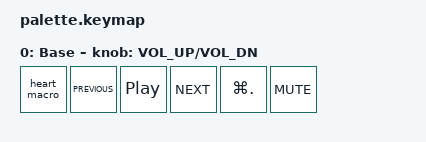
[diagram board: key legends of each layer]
#include <behaviors.dtsi>
#include <dt-bindings/zmk/keys.h>

/ {
    behaviors {
        heart_macro: behavior_macro {
            compatible = "zmk,behavior-macro";
            #binding-cells = <0>;
            bindings = <&macro_tap &kp LT &kp N3>;
        };
    };
    combos {
        compatible = "zmk,combos";
        combo_studio {
          timeout-ms = <50>;
          bindings = <&studio_unlock>;
          key-positions = <0 1>;
          layers = <0>;
        };
    };
    keymap {
        compatible = "zmk,keymap";

        default_layer {
            display-name = "Base";
            bindings = <
                &heart_macro    &kp C_PREVIOUS    &kp C_PLAY_PAUSE    &kp C_NEXT    &kp LG(DOT)    &kp C_MUTE
            >;
            sensor-bindings = <&inc_dec_kp C_VOL_UP C_VOL_DN>;
        };
        
        extra1 {
            status = "reserved";
        };

        extra2 {
            status = "reserved";
        };

    };
 };
